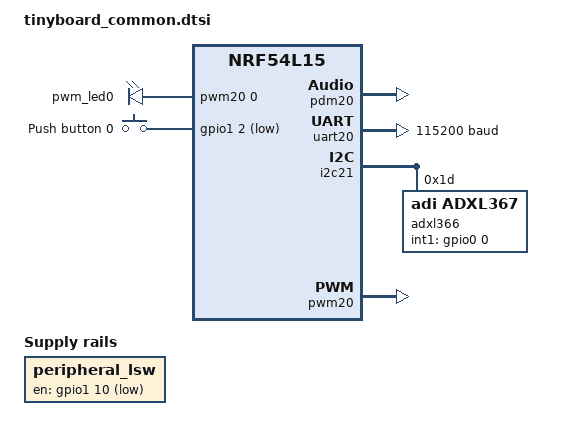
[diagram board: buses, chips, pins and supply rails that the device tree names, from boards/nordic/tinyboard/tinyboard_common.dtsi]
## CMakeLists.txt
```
# SPDX-License-Identifier: Apache-2.0

cmake_minimum_required(VERSION 3.20.0)
find_package(Zephyr REQUIRED HINTS $ENV{ZEPHYR_BASE})
project(blinky)

target_sources(app PRIVATE 
			   src/main.c
			   src/accel_service.c
)

include_directories(inc)
```

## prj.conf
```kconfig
CONFIG_GPIO=y
CONFIG_PWM=y
CONFIG_LED=y
CONFIG_LOG=y
CONFIG_LOG_MODE_IMMEDIATE=y

CONFIG_SYSTEM_WORKQUEUE_STACK_SIZE=4096

CONFIG_BT=y
CONFIG_BT_PERIPHERAL=y
CONFIG_BT_DEVICE_NAME="nRF54L15 TinyBoard"
CONFIG_BT_RX_STACK_SIZE=4096

CONFIG_FLASH=y
CONFIG_FLASH_MAP=y
CONFIG_SETTINGS=y
CONFIG_ZMS=y
CONFIG_SETTINGS_ZMS=y
CONFIG_BT_KEYS_OVERWRITE_OLDEST=y

CONFIG_SHELL=y
CONFIG_I2C=y
CONFIG_SENSOR=y
CONFIG_SENSOR_SHELL=y
CONFIG_I2C_SHELL=y
CONFIG_USE_SEGGER_RTT=y
CONFIG_SHELL_BACKEND_RTT=y
CONFIG_SHELL_BACKEND_SERIAL=y

CONFIG_ZBUS=y

CONFIG_LOG_BUFFER_SIZE=16384

CONFIG_SENSOR_LOG_LEVEL_DBG=y
CONFIG_CORTEX_M_DEBUG_MONITOR_HOOK=y
```

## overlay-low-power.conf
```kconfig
CONFIG_SERIAL=n
CONFIG_CONSOLE=n
CONFIG_LOG=n
CONFIG_SHELL=n
CONFIG_USE_SEGGER_RTT=n
CONFIG_SHELL_BACKEND_RTT=n
CONFIG_SHELL_BACKEND_SERIAL=n
```

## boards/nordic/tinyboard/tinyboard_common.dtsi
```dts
/*
 * Copyright (c) 2024 Nordic Semiconductor ASA
 *
 * SPDX-License-Identifier: Apache-2.0
 */

#include "tinyboard_nrf54l15-pinctrl.dtsi"

/ {
	pwmleds {
		compatible = "pwm-leds";
		pwm_led0: pwm_led_0 {
			pwms = <&pwm20 0 PWM_MSEC(20) PWM_POLARITY_NORMAL>;
		};
	};

	buttons {
		compatible = "gpio-keys";
		button0: button_0 {
			gpios = <&gpio1 2 (GPIO_PULL_UP | GPIO_ACTIVE_LOW)>;
			label = "Push button 0";
			zephyr,code = <INPUT_KEY_0>;
		};
	};

	aliases {
		pwm-led0 = &pwm_led0;
		sw0 = &button0;
		watchdog0 = &wdt31;
	};

	peripheral_lsw: peripheral-load-switch {
		compatible = "regulator-fixed";
		regulator-name = "Peripheral LSW";
		enable-gpios = <&gpio1 10 GPIO_ACTIVE_LOW>;
		regulator-boot-on;
	};
};


dmic_dev: &pdm20 {
	status = "okay";
	pinctrl-0 = <&pdm20_default>;
	pinctrl-1 = <&pdm20_sleep>;
	pinctrl-names = "default", "sleep";
	clock-source = "PCLK32M_HFXO";
};

&uart20 {
	current-speed = <115200>;
	pinctrl-0 = <&uart20_default>;
	pinctrl-1 = <&uart20_sleep>;
	pinctrl-names = "default", "sleep";
};

&i2c21 {
	compatible = "nordic,nrf-twim";
	status = "okay";
	pinctrl-0 = <&i2c21_default>;
	pinctrl-1 = <&i2c21_sleep>;
	pinctrl-names = "default", "sleep";

	adxl366: adxl366@1d {
		compatible = "adi,adxl367";
		reg = <0x1d>;
		odr = <1>;
		int1-gpios = <&gpio0 0 GPIO_ACTIVE_HIGH>;
	};
};

&pwm20 {
	status = "okay";
	pinctrl-0 = <&pwm20_default>;
	pinctrl-1 = <&pwm20_sleep>;
	pinctrl-names = "default", "sleep";
};
```

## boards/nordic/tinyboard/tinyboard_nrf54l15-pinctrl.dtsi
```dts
/*
 * Copyright (c) 2024 Nordic Semiconductor
 * SPDX-License-Identifier: Apache-2.0
 */

&pinctrl {
	/omit-if-no-ref/ uart20_default: uart20_default {
		group1 {
			psels = <NRF_PSEL(UART_TX, 1, 7)>;
		};
		group2 {
			psels = <NRF_PSEL(UART_RX, 1, 12)>;
			bias-pull-up;
		};
	};

	/omit-if-no-ref/ uart20_sleep: uart20_sleep {
		group1 {
			psels = <NRF_PSEL(UART_TX, 1, 7)>,
				<NRF_PSEL(UART_RX, 1, 12)>;
			low-power-enable;
		};
	};

	/omit-if-no-ref/ pdm20_default: pdm20_default {
		group1 {
			psels = <NRF_PSEL(PDM_CLK, 0, 3)>,
				<NRF_PSEL(PDM_DIN, 0, 1)>;
		};
	};

	/omit-if-no-ref/ pdm20_sleep: pdm20_sleep {
		group1 {
			psels = <NRF_PSEL(PDM_CLK, 0, 3)>,
				<NRF_PSEL(PDM_DIN, 0, 1)>;
			low-power-enable;
		};
	};

	/omit-if-no-ref/ i2c21_default: i2c21_default {
		group1 {
			psels = <NRF_PSEL(TWIM_SDA, 1, 4)>,
				<NRF_PSEL(TWIM_SCL, 1, 8)>;
		};
	};

	/omit-if-no-ref/ i2c21_sleep: i2c21_sleep {
		group1 {
			psels = <NRF_PSEL(TWIM_SDA, 1, 4)>,
				<NRF_PSEL(TWIM_SCL, 1, 8)>;
			low-power-enable;
		};
	};

	/omit-if-no-ref/ pwm20_default: pwm20_default {
		group1 {
			psels = <NRF_PSEL(PWM_OUT0, 1, 9)>;
		};
	};

	/omit-if-no-ref/ pwm20_sleep: pwm20_sleep {
		group1 {
			psels = <NRF_PSEL(PWM_OUT0, 1, 9)>;
			low-power-enable;
		};
	};
};
```

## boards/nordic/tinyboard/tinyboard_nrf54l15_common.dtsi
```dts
/*
 * Copyright (c) 2024 Nordic Semiconductor ASA
 *
 * SPDX-License-Identifier: Apache-2.0
 */

/* This file is common to the secure and non-secure domain */

#include "tinyboard_common.dtsi"

/ {
	chosen {
		zephyr,console = &uart20;
		zephyr,shell-uart = &uart20;
		zephyr,uart-mcumgr = &uart20;
		zephyr,bt-mon-uart = &uart20;
		zephyr,bt-c2h-uart = &uart20;
		zephyr,flash-controller = &rram_controller;
		zephyr,flash = &cpuapp_rram;
		zephyr,ieee802154 = &ieee802154;
	};
};

&cpuapp_sram {
	status = "okay";
};

&lfxo {
	load-capacitors = "internal";
	load-capacitance-femtofarad = <12000>;
};

&hfxo {
	load-capacitors = "internal";
	load-capacitance-femtofarad = <12000>;
};

&regulators {
	status = "okay";
};

&vregmain {
	status = "okay";
	regulator-initial-mode = <NRF5X_REG_MODE_DCDC>;
};

&grtc {
	owned-channels = <0 1 2 3 4 5 6 7 8 9 10 11>;
	/* Channels 7-11 reserved for Zero Latency IRQs, 3-4 for FLPR */
	child-owned-channels = <3 4 7 8 9 10 11>;
	status = "okay";
};

&uart20 {
	status = "okay";
};

&gpio0 {
	status = "okay";
};

&gpio1 {
	status = "okay";
};

&gpio2 {
	status = "okay";
};

&gpiote20 {
	status = "okay";
};

&gpiote30 {
	status = "okay";
};

&radio {
	status = "okay";
};

&ieee802154 {
	status = "okay";
};

&temp {
	status = "okay";
};

&clock {
	status = "okay";
};

&adc {
	status = "okay";
};
```

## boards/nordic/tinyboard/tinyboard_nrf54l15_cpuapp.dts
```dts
/*
 * Copyright (c) 2024 Nordic Semiconductor ASA
 *
 * SPDX-License-Identifier: Apache-2.0
 */

/dts-v1/;

#include <nordic/nrf54l15_cpuapp.dtsi>
#include "tinyboard_nrf54l15_common.dtsi"

/ {
	compatible = "nordic,nrf54l15dk_nrf54l15-cpuapp";
	model = "Nordic nRF54L15 DK nRF54L15 Application MCU";

	chosen {
		zephyr,code-partition = &slot0_partition;
		zephyr,sram = &cpuapp_sram;
	};
};

&cpuapp_rram {
	partitions {
		compatible = "fixed-partitions";
		#address-cells = <1>;
		#size-cells = <1>;
		boot_partition: partition@0 {
			label = "mcuboot";
			reg = <0x0 DT_SIZE_K(64)>;
		};
		slot0_partition: partition@10000 {
			label = "image-0";
			reg = <0x10000 DT_SIZE_K(324)>;
		};
		slot0_ns_partition: partition@61000 {
			label = "image-0-nonsecure";
			reg = <0x61000 DT_SIZE_K(324)>;
		};
		slot1_partition: partition@b2000 {
			label = "image-1";
			reg = <0xb2000 DT_SIZE_K(324)>;
		};
		slot1_ns_partition: partition@103000 {
			label = "image-1-nonsecure";
			reg = <0x103000 DT_SIZE_K(324)>;
		};
		/* 32k from 0x154000 to 0x15bfff reserved for TF-M partitions */
		storage_partition: partition@15c000 {
			label = "storage";
			reg = <0x15c000 DT_SIZE_K(36)>;
		};
	};
};
```

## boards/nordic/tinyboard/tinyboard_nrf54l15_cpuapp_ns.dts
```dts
/*
 * Copyright (c) 2024 Nordic Semiconductor ASA
 *
 * SPDX-License-Identifier: Apache-2.0
 */

/dts-v1/;

#define USE_NON_SECURE_ADDRESS_MAP 1

#include <nordic/nrf54l15_cpuapp.dtsi>
#include "tinyboard_common.dtsi"

/ {
	compatible = "nordic,nrf54l15dk_nrf54l15-cpuapp";
	model = "Nordic nRF54L15 DK nRF54L15 Application MCU";

	chosen {
		zephyr,code-partition = &slot0_partition;
		zephyr,sram = &cpuapp_sram;
	};
};

&cpuapp_rram {
	partitions {
		compatible = "fixed-partitions";
		#address-cells = <1>;
		#size-cells = <1>;
		boot_partition: partition@0 {
			label = "mcuboot";
			reg = <0x0 DT_SIZE_K(64)>;
		};
		slot0_partition: partition@10000 {
			label = "image-0";
			reg = <0x10000 DT_SIZE_K(324)>;
		};
		slot0_ns_partition: partition@61000 {
			label = "image-0-nonsecure";
			reg = <0x61000 DT_SIZE_K(324)>;
		};
		slot1_partition: partition@b2000 {
			label = "image-1";
			reg = <0xb2000 DT_SIZE_K(324)>;
		};
		slot1_ns_partition: partition@103000 {
			label = "image-1-nonsecure";
			reg = <0x103000 DT_SIZE_K(324)>;
		};
		/* 32k from 0x154000 to 0x15bfff reserved for TF-M partitions */
		storage_partition: partition@15c000 {
			label = "storage";
			reg = <0x15c000 DT_SIZE_K(36)>;
		};
	};
};

&uart30 {
	/* Disable so that TF-M can use this UART */
	status = "disabled";

	current-speed = <115200>;
	pinctrl-0 = <&uart30_default>;
	pinctrl-1 = <&uart30_sleep>;
	pinctrl-names = "default", "sleep";
};
```

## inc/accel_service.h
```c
#ifndef ACCEL_SERVICE_H__
#define ACCEL_SERVICE_H__

#include <zephyr/types.h>
#include <zephyr/bluetooth/conn.h>
#include <zephyr/bluetooth/uuid.h>
#include <zephyr/bluetooth/gatt.h>

#define BT_UUID_ACCEL_SERVICE_VAL \
    BT_UUID_128_ENCODE(0x0901BB00, 0xE287, 0x4548, 0xBA91, 0x3A92B284F904)
#define BT_UUID_ACCEL_CHAR_VAL \
    BT_UUID_128_ENCODE(0x0901BB01, 0xE287, 0x4548, 0xBA91, 0x3A92B284F904)
#define BT_UUID_ACCEL_SERVICE           BT_UUID_DECLARE_128(BT_UUID_ACCEL_SERVICE_VAL)
#define BT_UUID_ACCEL_CHAR              BT_UUID_DECLARE_128(BT_UUID_ACCEL_CHAR_VAL)

#endif
```

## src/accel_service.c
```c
#include <zephyr/kernel.h>
#include <zephyr/sys/util.h>
#include <zephyr/settings/settings.h>
#include <zephyr/bluetooth/conn.h>
#include <zephyr/bluetooth/uuid.h>
#include <zephyr/bluetooth/gatt.h>
#include <zephyr/bluetooth/hci.h>
#include <zephyr/bluetooth/hci_vs.h>
#include <zephyr/drivers/sensor.h>
#include <zephyr/drivers/led.h>
#include <zephyr/devicetree.h>
#include <zephyr/init.h>
#include "accel_service.h"
#include <zephyr/logging/log.h>

LOG_MODULE_REGISTER(accel_service, LOG_LEVEL_DBG);

static const struct bt_data ad[] = {
	BT_DATA_BYTES(BT_DATA_FLAGS, (BT_LE_AD_GENERAL | BT_LE_AD_NO_BREDR)),
	BT_DATA(BT_DATA_NAME_COMPLETE, CONFIG_BT_DEVICE_NAME, sizeof(CONFIG_BT_DEVICE_NAME) - 1),
};

static const struct bt_data sd[] = {
	BT_DATA_BYTES(BT_DATA_UUID128_ALL, BT_UUID_ACCEL_SERVICE_VAL),
};

/* ADXL367 device */
static const struct device *adxl_dev = DEVICE_DT_GET(DT_NODELABEL(adxl366));

/* LED Device */
#define LED_PWM_NODE_ID	 DT_COMPAT_GET_ANY_STATUS_OKAY(pwm_leds)
static const struct device *led_dev = DEVICE_DT_GET(LED_PWM_NODE_ID);

const char *led_label[] = {
	DT_FOREACH_CHILD_SEP_VARGS(LED_PWM_NODE_ID, DT_PROP_OR, (,), label, NULL)
};

const int num_leds = ARRAY_SIZE(led_label);

/* LED configuration */
#define MAX_BRIGHTNESS	100
#define FADE_DELAY_MS	10
#define NOTIFICATION_LED 0  /* Use the first LED for notification indication */

/* Notification state */
static bool notifications_enabled = false;
static struct bt_conn *default_conn;

/* Timer for sensor polling - 10 Hz (100ms interval) */
#define POLLING_INTERVAL_MS 100
static void polling_timer_handler(struct k_timer *timer);
K_TIMER_DEFINE(polling_timer, polling_timer_handler, NULL);

/* Work item for sensor reading */
static struct k_work sensor_work;
static void sensor_work_handler(struct k_work *work);

/* Work item for LED control */
static struct k_work led_work;
static void led_work_handler(struct k_work *work);

static void accel_ccc_cfg_changed(const struct bt_gatt_attr *attr, uint16_t value);

BT_GATT_SERVICE_DEFINE(accel_service,
    BT_GATT_PRIMARY_SERVICE(BT_UUID_ACCEL_SERVICE),
	BT_GATT_CHARACTERISTIC(BT_UUID_ACCEL_CHAR,
						   BT_GATT_CHRC_NOTIFY,
						   0x00,
						   NULL, NULL, NULL),
	BT_GATT_CCC(accel_ccc_cfg_changed, BT_GATT_PERM_READ | BT_GATT_PERM_WRITE),
);

/* LED control function - pulse when notifications are enabled */
static void led_work_handler(struct k_work *work)
{
    static bool led_increasing = true;
    static uint16_t led_level = 0;
    int err;

    if (!device_is_ready(led_dev) || NOTIFICATION_LED >= num_leds) {
        return;
    }

    if (notifications_enabled) {
        /* Create a breathing effect when notifications are enabled */
        if (led_increasing) {
            led_level += 5;
            if (led_level >= MAX_BRIGHTNESS) {
                led_level = MAX_BRIGHTNESS;
                led_increasing = false;
            }
        } else {
            if (led_level <= 5) {
                led_level = 0;
                led_increasing = true;
            } else {
                led_level -= 5;
            }
        }

        err = led_set_brightness(led_dev, NOTIFICATION_LED, led_level);
        if (err < 0) {
            LOG_ERR("Failed to set LED brightness: %d", err);
        }

        /* Schedule next update */
        k_work_submit(&led_work);
    } else {
        /* Turn LED off when notifications are disabled */
        err = led_off(led_dev, NOTIFICATION_LED);
        if (err < 0) {
            LOG_ERR("Failed to turn LED off: %d", err);
        }
    }
}

/* Sensor polling timer handler */
static void polling_timer_handler(struct k_timer *timer)
{
    /* Submit work to the system work queue */
    k_work_submit(&sensor_work);
}

/* Sensor work handler */
static void sensor_work_handler(struct k_work *work)
{
    int err = 0;
    struct sensor_value data[3];
    uint8_t buffer[6]; /* X, Y, Z as 16-bit values */
    
    /* Only proceed if notifications are enabled and connected */
    if (!notifications_enabled || !default_conn) {
        return;
    }
    
    /* Fetch accelerometer samples */
    if (sensor_sample_fetch(adxl_dev) < 0) {
        LOG_ERR("Sample fetch error");
        return;
    }

    /* Get acceleration data */
    err = sensor_channel_get(adxl_dev, SENSOR_CHAN_ACCEL_XYZ, &data[0]);
    if (err) {
        LOG_ERR("sensor_channel_get, error: %d", err);
        return;
    }

    /* Debug log */
    LOG_DBG("X: %d.%06d, Y: %d.%06d, Z: %d.%06d", 
            data[0].val1, data[0].val2,
            data[1].val1, data[1].val2,
            data[2].val1, data[2].val2);
    
    /* Convert to int16_t values (in milli-g) for BLE transmission */
    int16_t x_int = (int16_t)(sensor_value_to_double(&data[0]) * 1000);
    int16_t y_int = (int16_t)(sensor_value_to_double(&data[1]) * 1000);
    int16_t z_int = (int16_t)(sensor_value_to_double(&data[2]) * 1000);

    /* Pack into buffer (little-endian) */
    buffer[0] = x_int & 0xFF;
    buffer[1] = (x_int >> 8) & 0xFF;
    buffer[2] = y_int & 0xFF;
    buffer[3] = (y_int >> 8) & 0xFF;
    buffer[4] = z_int & 0xFF;
    buffer[5] = (z_int >> 8) & 0xFF;

    /* Send notification */
    err = bt_gatt_notify(default_conn, &accel_service.attrs[1], buffer, sizeof(buffer));
    if (err) {
        LOG_ERR("Failed to send acceleration notification: %d", err);
    }
}

static void start_sensor_polling(void)
{
    if (!device_is_ready(adxl_dev)) {
        LOG_ERR("ADXL367 device not ready");
        return;
    }
    
    LOG_INF("Starting accelerometer polling at 10Hz");
    
    /* Start the polling timer */
    k_timer_start(&polling_timer, K_MSEC(POLLING_INTERVAL_MS), K_MSEC(POLLING_INTERVAL_MS));
    
    /* Start LED breathing effect */
    if (device_is_ready(led_dev) && NOTIFICATION_LED < num_leds) {
        k_work_submit(&led_work);
    }
}

static void stop_sensor_polling(void)
{
    LOG_INF("Stopping accelerometer polling");
    
    /* Stop the polling timer */
    k_timer_stop(&polling_timer);
    
    /* Turn off LED */
    if (device_is_ready(led_dev) && NOTIFICATION_LED < num_leds) {
        led_off(led_dev, NOTIFICATION_LED);
    }
}

static void accel_ccc_cfg_changed(const struct bt_gatt_attr *attr, uint16_t value) {
	ARG_UNUSED(attr);
	notifications_enabled = (value == BT_GATT_CCC_NOTIFY);
	
	if (notifications_enabled) {
	    LOG_INF("Accel notifications enabled");
	    start_sensor_polling();
	} else {
	    LOG_INF("Accel notifications disabled");
	    stop_sensor_polling();
	}
}

static void connected(struct bt_conn *conn, uint8_t err)
{
	if (err != 0) {
		return;
	}
	default_conn = bt_conn_ref(conn);
	LOG_INF("Device connected");
}

static void disconnected(struct bt_conn *conn, uint8_t reason)
{
    LOG_INF("Device disconnected (reason: %u)", reason);
    
    if (notifications_enabled) {
        /* Stop sensor polling if active */
        stop_sensor_polling();
        notifications_enabled = false;
    }
    
	bt_conn_unref(conn);
	default_conn = NULL;
}

BT_CONN_CB_DEFINE(conn_callbacks) = {
	.connected = connected,
	.disconnected = disconnected,
};

static int accel_service_init(void)
{
	int err;
	
	/* Initialize work items */
	k_work_init(&sensor_work, sensor_work_handler);
	k_work_init(&led_work, led_work_handler);
	
	/* Delay startup to let other components initialize */
	k_msleep(5000);
	
	if (IS_ENABLED(CONFIG_SETTINGS)) {
		settings_load();
	}
	
	/* Check if the ADXL367 device is ready */
	if (!device_is_ready(adxl_dev)) {
	    LOG_ERR("ADXL367 device not ready");
	    return -ENODEV;
	}
	
	LOG_INF("ADXL367 device is ready");
	
	/* Check if LED device is ready */
	if (!device_is_ready(led_dev)) {
	    LOG_WRN("LED device not ready");
	} else if (num_leds > 0) {
	    LOG_INF("LED device ready with %d LEDs", num_leds);
	    
	    /* Turn LED off initially */
	    if (NOTIFICATION_LED < num_leds) {
	        led_off(led_dev, NOTIFICATION_LED);
	    }
	}
	
	err = bt_enable(NULL);
	if (err < 0) {
		LOG_ERR("Bluetooth init failed (err %d)", err);
		return err;
	}
	
	struct bt_le_adv_param adv_param = {
		.id = BT_ID_DEFAULT,
		.sid = 0,
		.secondary_max_skip = 0,
		.options = (BT_LE_ADV_OPT_CONNECTABLE |
			    BT_LE_ADV_OPT_ONE_TIME),
		.interval_min = BT_GAP_ADV_SLOW_INT_MIN,
		.interval_max = BT_GAP_ADV_SLOW_INT_MAX,
		.peer = NULL,
	};
	
	err = bt_le_adv_start(&adv_param, ad, ARRAY_SIZE(ad), sd, ARRAY_SIZE(sd));
	if (err < 0) {
		LOG_ERR("Bluetooth advertising start failed (err %d)", err);
		return err;
	}
	
	LOG_INF("Bluetooth advertising started");
	return 0;
}

/* Initialize as application with high priority (99) */
SYS_INIT(accel_service_init, APPLICATION, 99);
```
